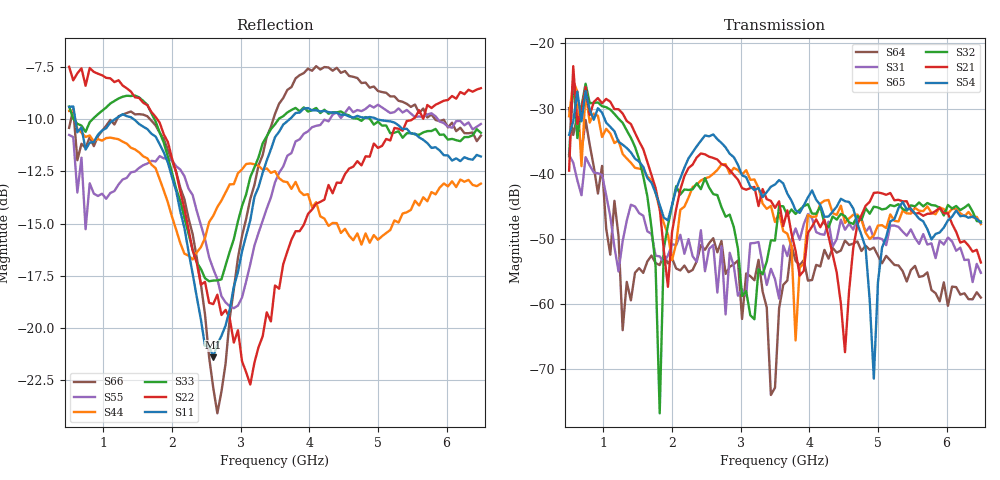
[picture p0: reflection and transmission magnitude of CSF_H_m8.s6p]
!Keysight Technologies,M9804A,MY58100912,A.14.10.03
!Date: Thursday, April 27, 2023 10:28:33
!Correction: S11(C  6-Port  )
!S12(C  6-Port  )
!S13(C  6-Port  )
!S14(C  6-Port  )
!S15(C  6-Port  )
!S16(C  6-Port  )
!S21(C  6-Port  )
!S22(C  6-Port  )
!S23(C  6-Port  )
!S24(C  6-Port  )
!S25(C  6-Port  )
!S26(C  6-Port  )
!S31(C  6-Port  )
!S32(C  6-Port  )
!S33(C  6-Port  )
!S34(C  6-Port  )
!S35(C  6-Port  )
!S36(C  6-Port  )
!S41(C  6-Port  )
!S42(C  6-Port  )
!S43(C  6-Port  )
!S44(C  6-Port  )
!S45(C  6-Port  )
!S46(C  6-Port  )
!S51(C  6-Port  )
!S52(C  6-Port  )
!S53(C  6-Port  )
!S54(C  6-Port  )
!S55(C  6-Port  )
!S56(C  6-Port  )
!S61(C  6-Port  )
!S62(C  6-Port  )
!S63(C  6-Port  )
!S64(C  6-Port  )
!S65(C  6-Port  )
!S66(C  6-Port  )
!S6P File: Measurement: :
# Hz S  RI  R 50
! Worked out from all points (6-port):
!   101 points, 500 MHz to 6.5 GHz, reference 50 ohm
!   strongest paths, dB at 500 MHz, 2 GHz, 3.5 GHz, 5 GHz, 6.5 GHz:
!     S54: -34.0, -44.8, -41.6, -56.6, -47.5
!     S21: -39.5, -48.9, -45.2, -42.9, -53.6
!     S32: -37.3, -44.9, -50.2, -45.2, -47.3
!     S65: -31.2, -53.2, -47.4, -47.9, -47.7
!     S31: -37.1, -50.8, -56.2, -49.8, -55.2
!     S64: -29.9, -52.9, -72.8, -52.5, -59.0
!   lowest |S11| = -21.4 dB at 2.6 GHz (marker M1), VSWR 1.19, Z = 42.4 + j2.2 ohm
!   |S11| at or under -10 dB: 589.5 MHz to 1.169 GHz (580 MHz wide, 65.9 % of centre); 1.439 GHz to 3.714 GHz (2.275 GHz wide, 88.3 % of centre); 4.985 GHz to end of sweep
